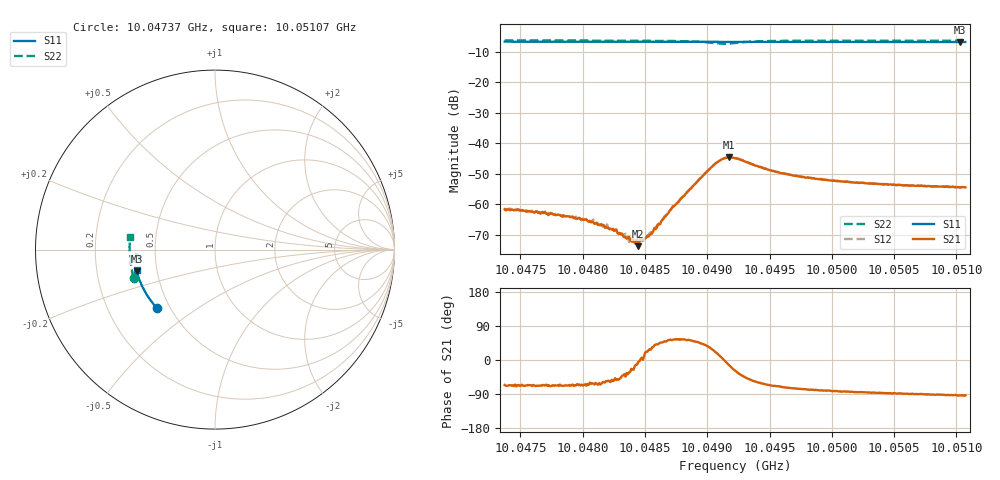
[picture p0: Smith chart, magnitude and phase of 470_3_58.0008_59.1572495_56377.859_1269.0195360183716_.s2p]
#  HZ  S  RI  R  50.00
! Rohde & Schwarz Vector Network Analyzer
! Rohde-Schwarz,ZNB20-2Port,1311601062101988,3.16
! Created: UTC 3/21/2024, 1:11:20 AM
! freq[Hz]  re:S11  im:S11  re:S21  im:S21  re:S12  im:S12  re:S22  im:S22
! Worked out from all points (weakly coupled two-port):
!   401 points, 10.04737 GHz to 10.05107 GHz, reference 50 ohm
!   highest |S21| = -44.58 dB at 10.04918 GHz (marker M1); lowest = -73.6 dB at 10.04845 GHz (marker M2)
!   lowest |S11| = -6.9 dB at 10.05103 GHz (marker M3), VSWR 2.65, Z = 19.1 - j5.7 ohm
!   |S11| at or under -10 dB: nowhere
!   |S22| runs from -7.5 to -6.4 dB; largest |S21 - S12| = 0.00041
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1.0047374e10  -0.3224 -0.3262  0.00034 -0.000763  0.000386 -0.000767  -0.4523 -0.1578
1.0047698e10  -0.3369 -0.3102  0.000295 -0.000701  0.000318 -0.000667  -0.4587 -0.1365
1.0047993e10  -0.3492 -0.2952  0.000242 -0.000516  0.000268 -0.000481  -0.4632 -0.116
1.0048141e10  -0.3552 -0.2874  0.000198 -0.000421  0.000243 -0.000379  -0.4653 -0.1055
1.0048187e10  -0.3571 -0.2852  0.000244 -0.000353  0.00026 -0.000356  -0.4658 -0.1021
1.0048252e10  -0.3597 -0.2818  0.000216 -0.0003  0.000243 -0.000282  -0.4665 -0.0973
1.0048345e10  -0.3632 -0.2767  0.000212 -0.000204  0.000286 -0.000169  -0.4673 -0.0902
1.0048391e10  -0.3648 -0.2744  0.000251 -0.000108  0.000225 -9.72e-05  -0.4677 -0.0867
1.0048446e10  -0.3671 -0.2712  0.000207 -1.99e-05  0.000266 -3.31e-05  -0.4681 -0.0821
1.0048502e10  -0.3691 -0.2683  0.000265 9.43e-05  0.000277 9.19e-05  -0.4682 -0.0777
1.0048548e10  -0.3709 -0.2657  0.000294 0.000151  0.000283 0.000205  -0.4682 -0.0737
1.0048613e10  -0.3731 -0.2622  0.000345 0.000327  0.000324 0.000368  -0.468 -0.0682
1.0048714e10  -0.3769 -0.2566  0.000533 0.000684  0.000468 0.000704  -0.467 -0.0585
1.0049038e10  -0.3876 -0.2382  0.00363 0.00197  0.00354 0.0022  -0.4369 -0.0293
1.0049112e10  -0.3897 -0.234  0.00536 0.000681  0.00533 0.00105  -0.4226 -0.0394
1.0049176e10  -0.3918 -0.2307  0.00572 -0.00145  0.00583 -0.00107  -0.4224 -0.0562
1.0049223e10  -0.3932 -0.228  0.00506 -0.00269  0.00525 -0.00238  -0.4304 -0.0646
1.0049537e10  -0.4032 -0.2099  0.0013 -0.00324  0.00149 -0.00318  -0.4685 -0.0441
1.0049842e10  -0.4116 -0.1917  0.000526 -0.00262  0.000693 -0.0026  -0.4748 -0.0171
1.0050461e10  -0.4262 -0.1539  9.57e-05 -0.00211  0.000203 -0.00211  -0.4754 0.0288
1.0051025e10  -0.4364 -0.1183  -0.000118 -0.0019  1.47e-06 -0.0019  -0.4714 0.0674
1.0051071e10  -0.4373 -0.1155  -0.000104 -0.0019  -5.85e-05 -0.0019  -0.4709 0.0704
